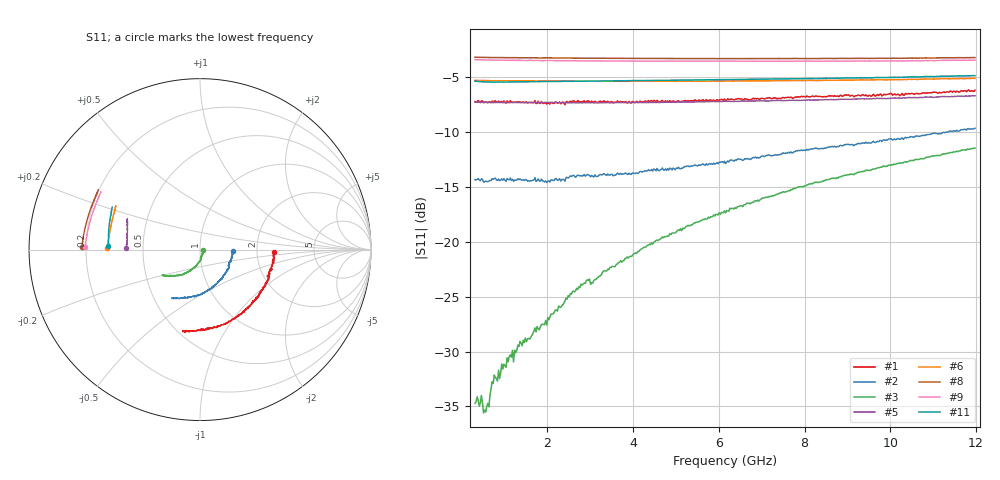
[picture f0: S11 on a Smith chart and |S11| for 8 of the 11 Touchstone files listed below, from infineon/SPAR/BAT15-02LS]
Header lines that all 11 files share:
! Infineon Technologies  Discrete & RF Semiconductors
! BAT15-02ELS
! One-Port S-Parameters
# Hz  S  MA  R  50
!f  S11
!Hz  Mag  Ang
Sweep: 309.9 MHz to 11.98 GHz
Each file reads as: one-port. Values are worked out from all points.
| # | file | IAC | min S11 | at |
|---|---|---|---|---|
| 1 | BAT15-02LS_IAC_0.3mA.s1p | 0.3 mA | -7.5 dB | 2.409 GHz |
| 2 | BAT15-02LS_IAC_0.5mA.s1p | 0.5 mA | -14.6 dB | 1.984 GHz |
| 3 | BAT15-02LS_IAC_0.7mA.s1p | 0.7 mA | -35.6 dB | 509.8 MHz |
| 4 | BAT15-02LS_IAC_0.8mA.s1p | 0.8 mA | -26.2 dB | 359.8 MHz |
| 5 | BAT15-02LS_IAC_2mA.s1p | 2 mA | -7.4 dB | 2.809 GHz |
| 6 | BAT15-02LS_IAC_3mA.s1p | 3 mA | -5.4 dB | 4.533 GHz |
| 7 | BAT15-02LS_IAC_6mA.s1p | 6 mA | -3.7 dB | 6.307 GHz |
| 8 | BAT15-02LS_IAC_8mA.s1p | 8 mA | -3.3 dB | 6.307 GHz |
| 9 | BAT15-02LS_IAC_60mA.s1p | 60 mA | -3.6 dB | 6.307 GHz |
| 10 | BAT15-02LS_IAC_80mA.s1p | 80 mA | -4.5 dB | 4.808 GHz |
| 11 | BAT15-02LS_IAC_100mA.s1p | 100 mA | -5.5 dB | 759.6 MHz |
